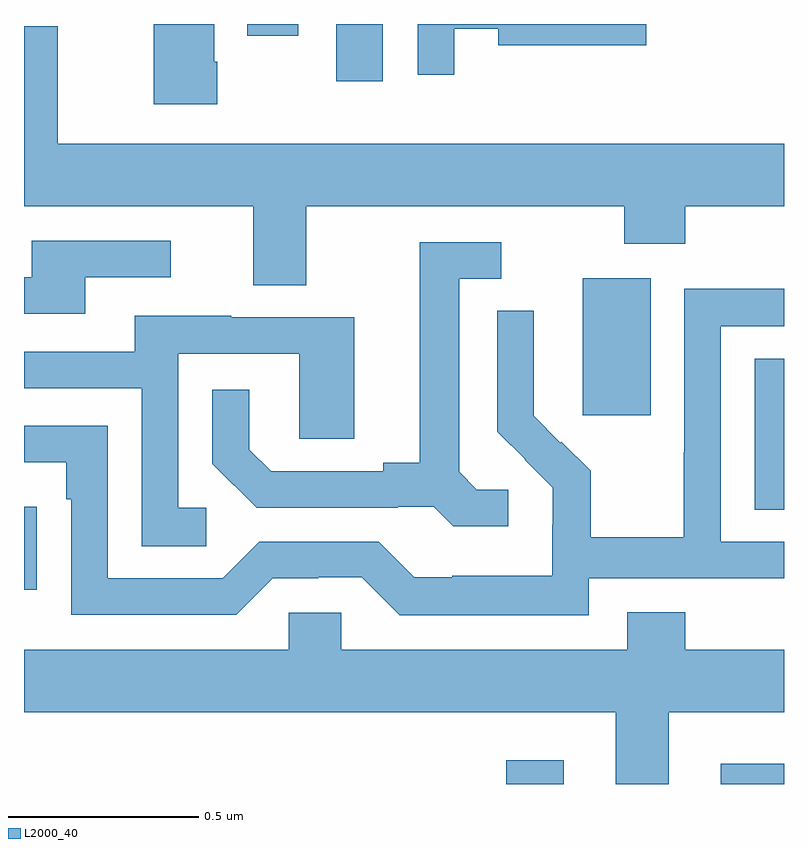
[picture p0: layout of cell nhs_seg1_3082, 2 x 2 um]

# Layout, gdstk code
import gdstk
lib = gdstk.Library(unit=1e-6, precision=1e-09)
def R(c, l, rs):  # rectangles x0, y0, x1, y1
    for r in rs: c.add(gdstk.rectangle(r[:2], r[2:], *l))
def P(c, l, *ps):  # polygons
    for p in ps: c.add(gdstk.Polygon(p, *l))
L2000_40 = (2000, 40)

nhs_seg1_3082 = lib.new_cell('nhs_seg1_3082')
R(nhs_seg1_3082, L2000_40, [(150.269,562.199,150.421,562.261), (150.833,562.199,151,562.252), (149,562.71,149.033,562.928), (150.923,562.921,151,563.318), (150.47,563.169,150.649,563.53), (149.822,564.048,149.944,564.199), (149.588,564.168,149.722,564.199)])
P(nhs_seg1_3082, L2000_40, [(150.132,564.186),(150.248,564.186),(150.248,564.143),(150.637,564.143),(150.637,564.199),(150.036,564.199),(150.036,564.066),(150.132,564.066)],
  [(149.508,564.1),(149.5,564.1),(149.5,564.199),(149.342,564.199),(149.342,563.988),(149.508,563.988)],
  [(149.743,563.72),(150.58,563.72),(150.58,563.621),(150.74,563.621),(150.74,563.72),(151,563.72),(151,563.884),(149.089,563.884),(149.089,564.193),(149,564.193),(149,563.72),(149.603,563.72),(149.603,563.512),(149.743,563.512)],
  [(149.161,563.532),(149.386,563.532),(149.386,563.628),(149.021,563.628),(149.021,563.532),(149,563.532),(149,563.436),(149.161,563.436)],
  [(150.274,562.974),(150.192,562.974),(150.145,563.021),(150.145,563.529),(150.256,563.529),(150.256,563.625),(150.041,563.625),(150.041,563.045),(149.945,563.045),(149.945,563.022),(149.65,563.022),(149.593,563.079),(149.593,563.236),(149.496,563.236),(149.496,563.042),(149.612,562.926),(149.984,562.926),(149.984,562.929),(150.078,562.929),(150.13,562.877),(150.274,562.877)],
  [(150.486,562.74),(151,562.74),(151,562.836),(150.834,562.836),(150.834,563.403),(151,563.403),(151,563.502),(150.738,563.502),(150.738,563.072),(150.736,563.072),(150.736,562.849),(150.491,562.849),(150.491,563.023),(150.414,563.1),(150.411,563.097),(150.341,563.168),(150.341,563.29),(150.342,563.29),(150.342,563.444),(150.246,563.444),(150.246,563.126),(150.319,563.053),(150.318,563.052),(150.392,562.978),(150.392,562.881),(150.39,562.881),(150.39,562.747),(150.127,562.747),(150.127,562.743),(150.027,562.743),(149.934,562.836),(149.619,562.836),(149.523,562.74),(149.22,562.74),(149.22,563.142),(149,563.142),(149,563.046),(149.111,563.046),(149.111,562.949),(149.124,562.949),(149.124,562.644),(149.559,562.644),(149.655,562.74),(149.774,562.74),(149.774,562.743),(149.889,562.743),(149.989,562.643),(150.486,562.643)],
  [(149.479,562.926),(149.406,562.926),(149.406,563.331),(149.724,563.331),(149.724,563.107),(149.869,563.107),(149.869,563.427),(149.545,563.427),(149.545,563.431),(149.291,563.431),(149.291,563.337),(149,563.337),(149,563.241),(149.31,563.241),(149.31,562.825),(149.479,562.825)],
  [(150.697,562.388),(151,562.388),(151,562.552),(150.74,562.552),(150.74,562.651),(150.587,562.651),(150.587,562.552),(149.835,562.552),(149.835,562.65),(149.697,562.65),(149.697,562.552),(149,562.552),(149,562.388),(150.557,562.388),(150.557,562.199),(150.697,562.199)])

lib.write_gds('nhs_seg1_3082.gds')
